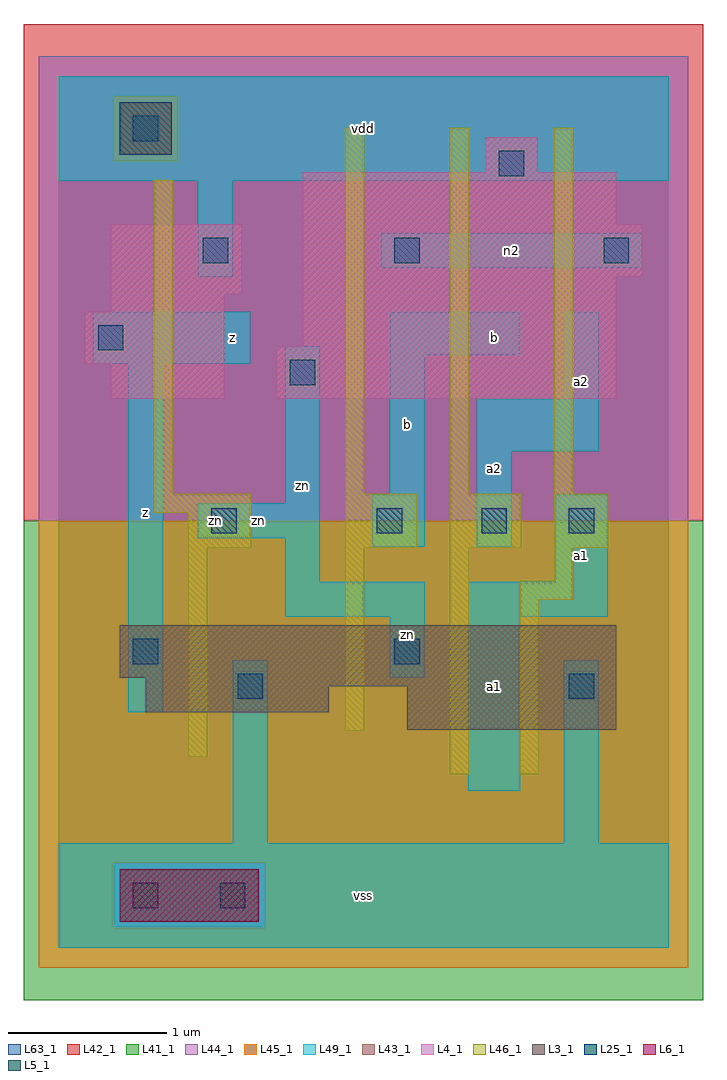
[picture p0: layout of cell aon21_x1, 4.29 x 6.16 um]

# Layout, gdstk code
import gdstk
lib = gdstk.Library(unit=1e-6, precision=1e-09)
def R(c, l, rs):  # rectangles x0, y0, x1, y1
    for r in rs: c.add(gdstk.rectangle(r[:2], r[2:], *l))
def A(c, l, x, y, w, h, nx, ny, dx, dy):  # array of equal rectangles
    R(c, l, [(x+i*dx, y+j*dy, x+i*dx+w, y+j*dy+h) for i in range(nx) for j in range(ny)])
L3_1 = (3, 1)
L4_1 = (4, 1)
L5_1 = (5, 1)
L6_1 = (6, 1)
L25_1 = (25, 1)
L41_1 = (41, 1)
L42_1 = (42, 1)
L43_1 = (43, 1)
L44_1 = (44, 1)
L45_1 = (45, 1)
L46_1 = (46, 1)
L49_1 = (49, 1)
L63_1 = (63, 1)

aon21_x1 = lib.new_cell('aon21_x1')
R(aon21_x1, L3_1, [(2.2,1.375,3.52,1.65), (0.55,1.485,1.705,1.65), (0.55,1.65,3.52,1.705), (0.385,1.705,3.52,2.035)])
R(aon21_x1, L4_1, [(0.33,3.465,1.045,3.685), (1.375,3.465,3.52,3.795), (0.165,3.685,1.045,4.015), (1.54,3.795,3.52,4.235), (0.33,4.015,1.045,4.125), (0.33,4.125,1.155,4.565), (1.54,4.235,3.685,4.565), (1.54,4.565,3.52,4.895), (2.695,4.895,3.025,5.115)])
R(aon21_x1, L5_1, [(0.385,5.005,0.715,5.335)])
R(aon21_x1, L6_1, [(0.385,0.165,1.265,0.495)])
R(aon21_x1, L25_1, [(0.47,0.25,0.63,0.41), (1.02,0.25,1.18,0.41), (1.13,1.57,1.29,1.73), (3.22,1.57,3.38,1.73), (0.47,1.79,0.63,1.95), (2.12,1.79,2.28,1.95), (0.965,2.615,1.125,2.775), (2.01,2.615,2.17,2.775), (2.67,2.615,2.83,2.775), (3.22,2.615,3.38,2.775), (1.46,3.55,1.62,3.71), (0.25,3.77,0.41,3.93), (0.91,4.32,1.07,4.48), (2.12,4.32,2.28,4.48), (3.44,4.32,3.6,4.48), (2.78,4.87,2.94,5.03), (0.47,5.09,0.63,5.25)])
R(aon21_x1, L41_1, [(-0.22,-0.33,4.07,2.695)])
R(aon21_x1, L42_1, [(-0.22,2.695,4.07,5.83)])
R(aon21_x1, L43_1, [(0.385,0.165,1.265,0.495), (2.2,1.375,3.52,1.65), (0.55,1.485,1.705,1.65), (0.55,1.65,3.52,1.705), (0.385,1.705,3.52,2.035), (0.33,3.465,1.045,3.685), (1.375,3.465,3.52,3.795), (0.165,3.685,1.045,4.015), (1.54,3.795,3.52,4.235), (0.33,4.015,1.045,4.125), (0.33,4.125,1.155,4.565), (1.54,4.235,3.685,4.565), (1.54,4.565,3.52,4.895), (2.695,4.895,3.025,5.115), (0.385,5.005,0.715,5.335)])
R(aon21_x1, L44_1, [(0.345,0.125,1.305,0.535), (-0.125,2.695,3.975,4.965), (-0.125,4.965,0.345,5.375), (0.755,4.965,3.975,5.375), (-0.125,5.375,3.975,5.625)])
R(aon21_x1, L45_1, [(-0.125,-0.125,3.975,0.125), (-0.125,0.125,0.345,0.535), (1.305,0.125,3.975,0.535), (-0.125,0.535,3.975,2.695), (0.345,4.965,0.755,5.375)])
A(aon21_x1, L46_1, 1.81, 2.865, 0.12, 2.31, 3, 1, 0.66, 0)
R(aon21_x1, L46_1, [(2.47,1.095,2.59,2.525), (2.91,1.095,3.03,2.195), (0.82,1.205,0.94,2.525), (1.81,1.37,1.93,2.525), (2.91,2.195,3.25,2.315), (3.13,2.315,3.25,2.525), (0.82,2.525,1.215,2.745), (1.81,2.525,2.26,2.865), (2.47,2.525,2.92,2.865), (3.13,2.525,3.47,2.865), (0.6,2.745,1.215,2.865), (0.6,2.865,0.72,4.845)])
R(aon21_x1, L49_1, [(0,0,3.85,0.66), (1.1,0.66,1.32,1.815), (3.19,0.66,3.41,1.815), (2.585,0.99,2.915,2.09), (0.44,1.485,0.66,3.685), (2.09,1.705,2.31,2.09), (1.43,2.09,2.31,2.31), (2.585,2.09,3.465,2.31), (1.43,2.31,1.65,2.585), (3.135,2.31,3.465,2.86), (1.98,2.53,2.31,2.86), (2.64,2.53,2.86,3.135), (0.88,2.585,1.65,2.805), (1.43,2.805,1.65,3.795), (2.09,2.86,2.31,3.74), (2.64,3.135,3.41,3.465), (3.19,3.465,3.41,4.015), (0.22,3.685,1.21,4.015), (2.09,3.74,2.915,4.015), (0.88,4.235,1.1,4.84), (2.035,4.29,3.685,4.51), (0,4.84,3.85,5.5)])
R(aon21_x1, L63_1, [(0,0,3.85,5.5)])
aon21_x1.add(gdstk.Label('zn', (0.99,2.695), layer=49, texttype=1))
aon21_x1.add(gdstk.Label('z', (0.55,2.75), layer=49, texttype=1))
aon21_x1.add(gdstk.Label('z', (0.55,2.75), layer=49, texttype=1))
aon21_x1.add(gdstk.Label('zn', (1.54,2.915), layer=49, texttype=1))
aon21_x1.add(gdstk.Label('zn', (1.265,2.695), layer=49, texttype=1))
aon21_x1.add(gdstk.Label('z', (1.1,3.85), layer=49, texttype=1))
aon21_x1.add(gdstk.Label('z', (1.1,3.85), layer=49, texttype=1))
aon21_x1.add(gdstk.Label('vss', (1.925,0.33), layer=49, texttype=1))
aon21_x1.add(gdstk.Label('vss', (1.925,0.33), layer=49, texttype=1))
aon21_x1.add(gdstk.Label('zn', (2.2,1.98), layer=49, texttype=1))
aon21_x1.add(gdstk.Label('a1', (2.75,1.65), layer=49, texttype=1))
aon21_x1.add(gdstk.Label('a1', (2.75,1.65), layer=49, texttype=1))
aon21_x1.add(gdstk.Label('b', (2.75,3.85), layer=49, texttype=1))
aon21_x1.add(gdstk.Label('a2', (2.75,3.025), layer=49, texttype=1))
aon21_x1.add(gdstk.Label('b', (2.2,3.3), layer=49, texttype=1))
aon21_x1.add(gdstk.Label('b', (2.75,3.85), layer=49, texttype=1))
aon21_x1.add(gdstk.Label('b', (2.2,3.3), layer=49, texttype=1))
aon21_x1.add(gdstk.Label('a2', (2.75,3.025), layer=49, texttype=1))
aon21_x1.add(gdstk.Label('vdd', (1.925,5.17), layer=49, texttype=1))
aon21_x1.add(gdstk.Label('vdd', (1.925,5.17), layer=49, texttype=1))
aon21_x1.add(gdstk.Label('a1', (3.3,2.475), layer=49, texttype=1))
aon21_x1.add(gdstk.Label('a1', (3.3,2.475), layer=49, texttype=1))
aon21_x1.add(gdstk.Label('a2', (3.3,3.575), layer=49, texttype=1))
aon21_x1.add(gdstk.Label('a2', (3.3,3.575), layer=49, texttype=1))
aon21_x1.add(gdstk.Label('n2', (2.86,4.4), layer=49, texttype=1))

lib.write_gds('aon21_x1.gds')
